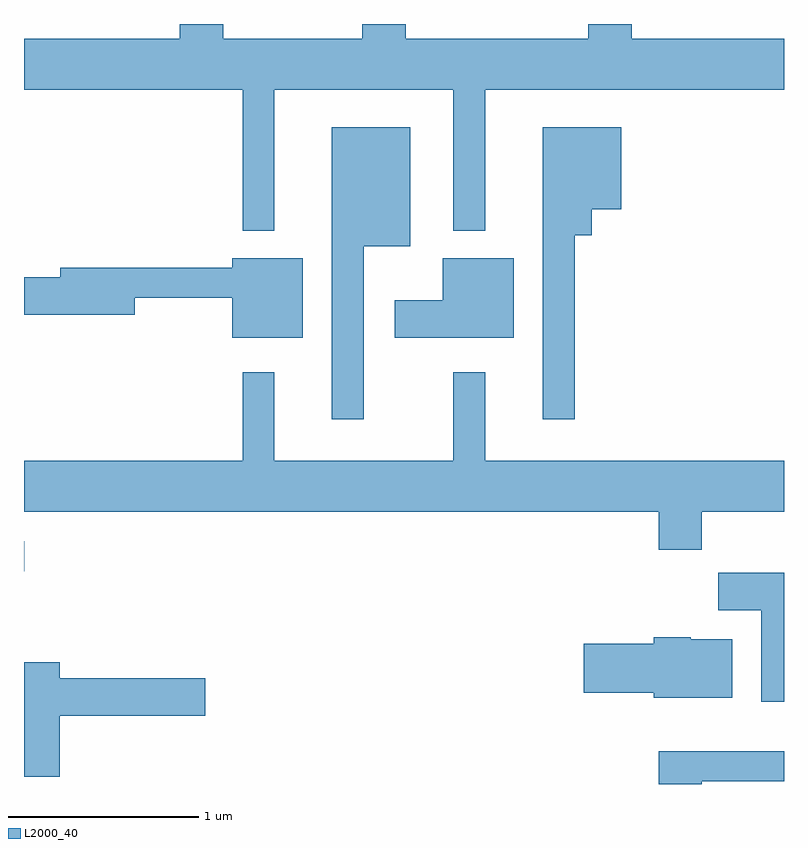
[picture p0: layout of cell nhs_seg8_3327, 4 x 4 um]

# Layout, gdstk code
import gdstk
lib = gdstk.Library(unit=1e-6, precision=1e-09)
def R(c, l, rs):  # rectangles x0, y0, x1, y1
    for r in rs: c.add(gdstk.rectangle(r[:2], r[2:], *l))
def P(c, l, *ps):  # polygons
    for p in ps: c.add(gdstk.Polygon(p, *l))
L2000_40 = (2000, 40)

nhs_seg8_3327 = lib.new_cell('nhs_seg8_3327')
R(nhs_seg8_3327, L2000_40, [(285.611,1809.461,285.613,1809.619)])
P(nhs_seg8_3327, L2000_40, [(286.929,1811.996),(287.871,1811.996),(287.871,1811.253),(288.039,1811.253),(288.039,1811.996),(289.611,1811.996),(289.611,1812.264),(288.809,1812.264),(288.809,1812.342),(288.581,1812.342),(288.581,1812.264),(287.619,1812.264),(287.619,1812.342),(287.391,1812.342),(287.391,1812.264),(286.659,1812.264),(286.659,1812.342),(286.431,1812.342),(286.431,1812.264),(285.611,1812.264),(285.611,1811.996),(286.761,1811.996),(286.761,1811.253),(286.929,1811.253)],
  [(287.399,1811.171),(287.644,1811.171),(287.644,1811.799),(287.231,1811.799),(287.231,1810.263),(287.399,1810.263)],
  [(288.509,1811.231),(288.599,1811.231),(288.599,1811.366),(288.754,1811.366),(288.754,1811.799),(288.341,1811.799),(288.341,1810.263),(288.509,1810.263)],
  [(287.079,1811.109),(286.706,1811.109),(286.706,1811.059),(285.801,1811.059),(285.801,1811.009),(285.611,1811.009),(285.611,1810.811),(286.194,1810.811),(286.194,1810.901),(286.706,1810.901),(286.706,1810.691),(287.079,1810.691)],
  [(288.189,1811.109),(287.816,1811.109),(287.816,1810.889),(287.561,1810.889),(287.561,1810.691),(288.189,1810.691)],
  [(288.039,1810.508),(287.871,1810.508),(287.871,1810.044),(286.929,1810.044),(286.929,1810.508),(286.761,1810.508),(286.761,1810.044),(285.611,1810.044),(285.611,1809.776),(288.951,1809.776),(288.951,1809.576),(289.179,1809.576),(289.179,1809.776),(289.611,1809.776),(289.611,1810.044),(288.039,1810.044)],
  [(289.611,1809.454),(289.266,1809.454),(289.266,1809.256),(289.491,1809.256),(289.491,1808.776),(289.611,1808.776)],
  [(289.339,1809.104),(289.12,1809.104),(289.12,1809.114),(288.926,1809.114),(288.926,1809.079),(288.556,1809.079),(288.556,1808.821),(288.926,1808.821),(288.926,1808.796),(289.339,1808.796)],
  [(285.799,1808.701),(286.564,1808.701),(286.564,1808.899),(285.799,1808.899),(285.799,1808.984),(285.611,1808.984),(285.611,1808.381),(285.799,1808.381)],
  [(289.179,1808.356),(289.611,1808.356),(289.611,1808.514),(288.951,1808.514),(288.951,1808.342),(289.179,1808.342)])

lib.write_gds('nhs_seg8_3327.gds')
